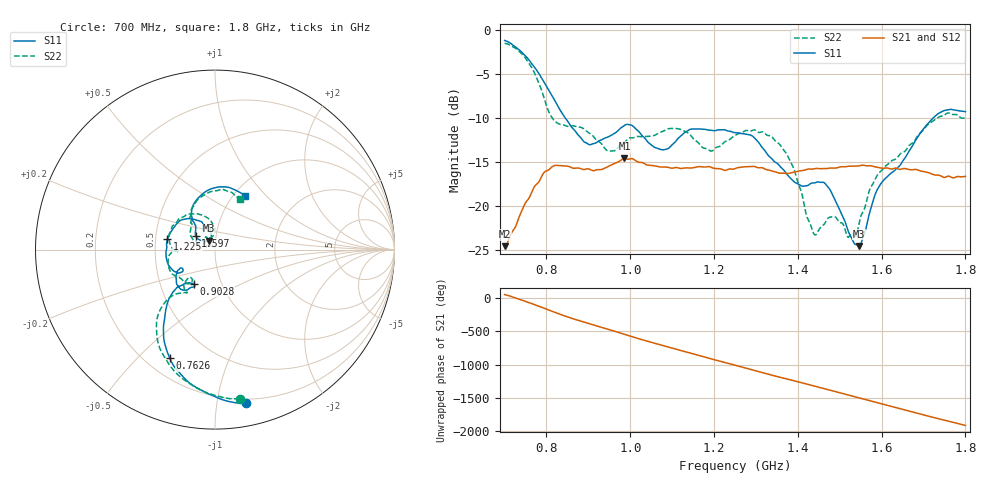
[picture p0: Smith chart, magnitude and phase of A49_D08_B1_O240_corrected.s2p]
! Created with skrf 1.9.0 (http://scikit-rf.org).
# Hz S RI R 50.0
!freq ReS11 ImS11 ReS21 ImS21 ReS12 ImS12 ReS22 ImS22
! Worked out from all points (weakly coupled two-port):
!   1601 points, 700 MHz to 1.8 GHz, reference 50 ohm
!   highest |S21| = -14.56 dB at 986 MHz (marker M1); lowest = -24.5 dB at 700 MHz (marker M2)
!   lowest |S11| = -24.5 dB at 1.546 GHz (marker M3), VSWR 1.13, Z = 46.6 + j4.64 ohm
!   |S11| at or under -10 dB: 845.3 MHz to 1.723 GHz (877.2 MHz wide, 68.3 % of centre)
!   |S22| runs from -23.5 to -1.5 dB; largest |S21 - S12| = 0.0037
!   S11 on the Smith chart (normalised r, x): 700 MHz: 0.17, -1.21; 762.6 MHz: 0.30, -0.63; 902.8 MHz: 0.74, -0.29; 1.225 GHz: 0.58, +0.08; 1.597 GHz: 0.80, +0.12; 1.8 GHz: 1.12, +0.77
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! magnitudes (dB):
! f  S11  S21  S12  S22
! 700 MHz  -1.2  -24.5  -24.3  -1.5
! 762.6 MHz  -3.7  -18.7  -18.6  -4.1
! 816.9 MHz  -7.7  -15.4  -15.5  -10.2
! 883.6 MHz  -12.3  -15.8  -15.7  -11.1
! 902.8 MHz  -13.0  -15.8  -15.8  -11.7
! 948.2 MHz  -12.1  -15.5  -15.5  -13.7
! 986 MHz  -10.8  -14.6  -14.7  -12.7
! 1.067 GHz  -13.5  -15.5  -15.5  -11.7
! 1.119 GHz  -12.1  -15.7  -15.6  -11.2
! 1.192 GHz  -11.4  -15.6  -15.6  -13.7
! 1.225 GHz  -11.3  -15.9  -15.9  -12.7
! 1.25 GHz  -11.6  -15.7  -15.7  -12.0
! 1.358 GHz  -15.5  -16.2  -16.2  -13.0
! 1.39 GHz  -17.2  -16.1  -16.1  -15.6
! 1.434 GHz  -17.4  -15.8  -15.7  -22.6
! 1.471 GHz  -17.8  -15.7  -15.7  -21.4
! 1.521 GHz  -22.9  -15.5  -15.5  -23.5
! 1.546 GHz  -24.5  -15.4  -15.4  -21.9
! 1.597 GHz  -17.6  -15.6  -15.6  -16.1
! 1.617 GHz  -16.5  -15.7  -15.7  -15.1
! 1.731 GHz  -9.6  -16.5  -16.4  -10.1
! 1.8 GHz  -9.3  -16.6  -16.6  -10.0
